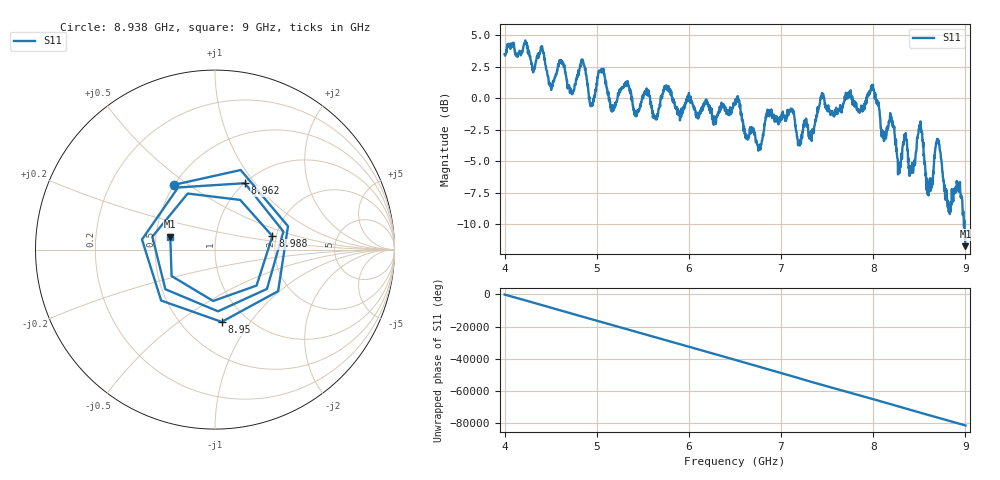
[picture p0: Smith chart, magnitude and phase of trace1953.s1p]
! Created with skrf 1.8.0 (http://scikit-rf.org).
# Hz S RI R 50.0
!freq ReS11 ImS11
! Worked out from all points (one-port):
!   1601 points, 4 GHz to 9 GHz, reference 50 ohm
!   lowest |S11| = -11.7 dB at 9 GHz (marker M1), VSWR 1.70, Z = 29.8 + j4.63 ohm
!   |S11| at or under -10 dB: 8.983513 GHz to 8.985299 GHz (1.786 MHz wide, 0.0199 % of centre); 8.989627 GHz to end of sweep
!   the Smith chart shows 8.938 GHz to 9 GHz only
!   S11 on the Smith chart (normalised r, x): 8.938 GHz: 0.50, +0.44; 8.95 GHz: 0.77, -0.74; 8.962 GHz: 1.00, +0.89; 8.988 GHz: 1.91, +0.32; 9 GHz: 0.60, +0.09
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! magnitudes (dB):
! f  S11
! 4 GHz  3.5
! 4.625 GHz  2.9
! 4.731 GHz  0.4
! 4.853 GHz  2.9
! 4.941 GHz  -0.5
! 5.047 GHz  2.3
! 5.169 GHz  -0.5
! 5.25 GHz  0.5
! 5.875 GHz  -0.8
! 6.5 GHz  -0.4
! 6.759 GHz  -4.1
! 6.859 GHz  -1.0
! 7.125 GHz  -1.0
! 7.203 GHz  -3.7
! 7.444 GHz  0.4
! 7.75 GHz  0.1
! 7.997 GHz  1.1
! 8.275 GHz  -5.9
! 8.375 GHz  -4.1
! 8.509 GHz  -2.3
! 8.6 GHz  -7.7
! 8.697 GHz  -3.3
! 8.822 GHz  -8.8
! 8.938 GHz  -7.4
! 8.95 GHz  -7.9
! 8.962 GHz  -7.8
! 8.988 GHz  -9.7
! 9 GHz  -11.7
